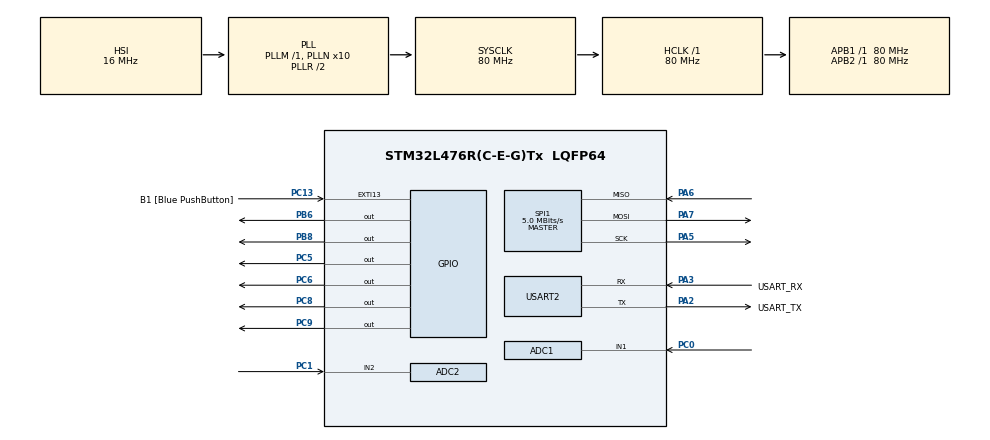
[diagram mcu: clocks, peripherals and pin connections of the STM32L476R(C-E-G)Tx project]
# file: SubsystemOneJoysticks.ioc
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ADC1.Channel-0\#ChannelRegularConversion=ADC_CHANNEL_1
ADC1.NbrOfConversionFlag=1
ADC1.OffsetNumber-0\#ChannelRegularConversion=ADC_OFFSET_NONE
ADC1.Rank-0\#ChannelRegularConversion=1
ADC1.SamplingTime-0\#ChannelRegularConversion=ADC_SAMPLETIME_2CYCLES_5
ADC1.master=1
ADC2.Channel-0\#ChannelRegularConversion=ADC_CHANNEL_2
ADC2.NbrOfConversionFlag=1
ADC2.OffsetNumber-0\#ChannelRegularConversion=ADC_OFFSET_NONE
ADC2.Rank-0\#ChannelRegularConversion=1
ADC2.SamplingTime-0\#ChannelRegularConversion=ADC_SAMPLETIME_2CYCLES_5
Mcu.Family=STM32L4
Mcu.Name=STM32L476R(C-E-G)Tx
Mcu.Package=LQFP64
NVIC.PriorityGroup=NVIC_PRIORITYGROUP_4
PA13\ (JTMS-SWDIO).GPIO_Label=TMS
PA13\ (JTMS-SWDIO).Mode=Serial_Wire
PA13\ (JTMS-SWDIO).Signal=SYS_JTMS-SWDIO
PA14\ (JTCK-SWCLK).GPIO_Label=TCK
PA14\ (JTCK-SWCLK).Mode=Serial_Wire
PA14\ (JTCK-SWCLK).Signal=SYS_JTCK-SWCLK
PA2.GPIO_Label=USART_TX
PA2.GPIO_Mode=GPIO_MODE_AF_PP
PA2.GPIO_PuPd=GPIO_NOPULL
PA2.GPIO_Speed=GPIO_SPEED_FREQ_VERY_HIGH
PA2.Mode=Asynchronous
PA2.Signal=USART2_TX
PA3.GPIO_Label=USART_RX
PA3.GPIO_Mode=GPIO_MODE_AF_PP
PA3.GPIO_PuPd=GPIO_NOPULL
PA3.GPIO_Speed=GPIO_SPEED_FREQ_VERY_HIGH
PA3.Mode=Asynchronous
PA3.Signal=USART2_RX
PA5.Mode=Full_Duplex_Master
PA5.Signal=SPI1_SCK
PA6.Mode=Full_Duplex_Master
PA6.Signal=SPI1_MISO
PA7.Mode=Full_Duplex_Master
PA7.Signal=SPI1_MOSI
PB3\ (JTDO-TRACESWO).GPIO_Label=SWO
PB3\ (JTDO-TRACESWO).Signal=SYS_JTDO-SWO
PB6.Signal=GPIO_Output
PB8.Signal=GPIO_Output
PC0.Signal=ADCx_IN1
PC1.Signal=ADCx_IN2
PC13.GPIO_Label=B1 [Blue PushButton]
PC13.GPIO_ModeDefaultEXTI=GPIO_MODE_IT_FALLING
PC13.GPIO_PuPd=GPIO_NOPULL
PC13.Signal=GPXTI13
PC14-OSC32_IN\ (PC14).Mode=LSE-External-Oscillator
PC14-OSC32_IN\ (PC14).Signal=RCC_OSC32_IN
PC15-OSC32_OUT\ (PC15).Mode=LSE-External-Oscillator
PC15-OSC32_OUT\ (PC15).Signal=RCC_OSC32_OUT
PC5.Signal=GPIO_Output
PC6.Signal=GPIO_Output
PC8.Signal=GPIO_Output
PC9.Signal=GPIO_Output
PH0-OSC_IN\ (PH0).Signal=RCC_OSC_IN
PH1-OSC_OUT\ (PH1).Signal=RCC_OSC_OUT
ProjectManager.HeapSize=0x200
ProjectManager.StackSize=0x400
ProjectManager.TargetToolchain=STM32CubeIDE
RCC.ADCFreq_Value=64000000
RCC.AHBFreq_Value=80000000
RCC.APB1Freq_Value=80000000
RCC.APB1TimFreq_Value=80000000
RCC.APB2Freq_Value=80000000
RCC.APB2TimFreq_Value=80000000
RCC.CortexFreq_Value=80000000
RCC.HCLKFreq_Value=80000000
RCC.HSE_VALUE=8000000
RCC.HSI_VALUE=16000000
RCC.MSI_VALUE=4000000
RCC.PLLN=10
RCC.PLLSourceVirtual=RCC_PLLSOURCE_HSI
RCC.PREFETCH_ENABLE=1
RCC.SYSCLKFreq_VALUE=80000000
RCC.SYSCLKSource=RCC_SYSCLKSOURCE_PLLCLK
RCC.USBFreq_Value=64000000
RCC.VCOOutputFreq_Value=160000000
SH.ADCx_IN1.0=ADC1_IN1,IN1-Single-Ended
SH.ADCx_IN2.0=ADC2_IN2,IN2-Single-Ended
SPI1.BaudRatePrescaler=SPI_BAUDRATEPRESCALER_16
SPI1.CalculateBaudRate=5.0 MBits/s
SPI1.DataSize=SPI_DATASIZE_8BIT
SPI1.Direction=SPI_DIRECTION_2LINES
SPI1.Mode=SPI_MODE_MASTER
SPI1.VirtualType=VM_MASTER
USART2.VirtualMode-Asynchronous=VM_ASYNC
board=NUCLEO-L476RG

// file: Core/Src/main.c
/* USER CODE BEGIN Header */
/**
  ******************************************************************************
  * @file           : main.c
  * @brief          : Main body code for joystick transmitter
  ******************************************************************************
  * @attention
  *
  * Copyright (c) 2025 STMicroelectronics.
  * All rights reserved.
  *
  * This software is licensed under terms that can be found in the LICENSE file
  * in the root directory of this software component.
  * If no LICENSE file comes with this software, it is provided AS-IS.
  *
  ******************************************************************************
  */
/* USER CODE END Header */
#include "main.h"
/* USER CODE BEGIN Includes */
#include "stdlib.h"
#include <stdio.h>
/* USER CODE END Includes */
/* USER CODE BEGIN PTD */
SPI_HandleTypeDef hspi1;

UART_HandleTypeDef huart2;
/* USER CODE END PTD */
/* USER CODE BEGIN PD */
#define NRF24_CMD_R_REGISTER 0x00
#define NRF24_CMD_W_REGISTER 0x20

#define CSN_GPIO_Port GPIOB
#define CSN_Pin GPIO_PIN_6

#define CE_GPIO_Port GPIOB
#define CE_Pin GPIO_PIN_8

#define CSN_HIGH() HAL_GPIO_WritePin(CSN_GPIO_Port, CSN_Pin, GPIO_PIN_SET)
#define CSN_LOW()  HAL_GPIO_WritePin(CSN_GPIO_Port, CSN_Pin, GPIO_PIN_RESET)
#define CE_HIGH()  HAL_GPIO_WritePin(CE_GPIO_Port, CE_Pin, GPIO_PIN_SET)
#define CE_LOW()   HAL_GPIO_WritePin(CE_GPIO_Port, CE_Pin, GPIO_PIN_RESET)

#define BLUE_LOW() HAL_GPIO_WritePin(GPIOC, GPIO_PIN_9, GPIO_PIN_RESET)
#define BLUE_HIGH() HAL_GPIO_WritePin(GPIOC, GPIO_PIN_9, GPIO_PIN_SET)
#define GREEN_LOW() HAL_GPIO_WritePin(GPIOC, GPIO_PIN_8, GPIO_PIN_RESET)
#define GREEN_HIGH() HAL_GPIO_WritePin(GPIOC, GPIO_PIN_8, GPIO_PIN_SET)
#define YELLOW_LOW() HAL_GPIO_WritePin(GPIOC, GPIO_PIN_6, GPIO_PIN_RESET)
#define YELLOW_HIGH() HAL_GPIO_WritePin(GPIOC, GPIO_PIN_6, GPIO_PIN_SET)
#define RED_LOW() HAL_GPIO_WritePin(GPIOC, GPIO_PIN_5, GPIO_PIN_RESET)
#define RED_HIGH() HAL_GPIO_WritePin(GPIOC, GPIO_PIN_5, GPIO_PIN_SET) //Legacy helper functions from subsystem 2, here for reference if needed.

/* USER CODE END PD */
ADC_HandleTypeDef hadc1;
ADC_HandleTypeDef hadc2;
SPI_HandleTypeDef hspi1;
UART_HandleTypeDef huart2;
/* USER CODE BEGIN PV */
int16_t UD = 0;
int16_t LR = 0;
char uart_buf[50];
int uart_buf_len;

void SystemClock_Config(void);
static void MX_GPIO_Init(void);
static void MX_USART2_UART_Init(void);
static void MX_SPI1_Init(void);

//SPI Transmission Helper Function
uint8_t SPI_Transfer(uint8_t data) {
    uint8_t received = 0;
    HAL_SPI_TransmitReceive(&hspi1, &data, &received, 1, HAL_MAX_DELAY);
    char debug_buf[30];
//    sprintf(debug_buf, "SPI Sent: %02X, Got: %02X\n", data, received);
//    HAL_UART_Transmit(&huart2, (uint8_t *)debug_buf, strlen(debug_buf), HAL_MAX_DELAY);
    return received;
}

void nRF24_WriteRegister(uint8_t reg, uint8_t value) {
    CSN_LOW();  // Select the nRF24L01
    SPI_Transfer(0x20 | (reg & 0x1F));  // Write command (0x20 + Register Address)
    SPI_Transfer(value);  // Send data
    CSN_HIGH(); // Deselect
}

void nRF24_WriteRegisterMulti(uint8_t reg, uint8_t *data, uint8_t length) {
    CSN_LOW();  // Select nRF24L01
    SPI_Transfer(0x20 | (reg & 0x1F));  // Write command
    HAL_SPI_Transmit(&hspi1, data, length, HAL_MAX_DELAY);
    CSN_HIGH();  // Deselect
}

uint8_t nRF24_ReadRegister(uint8_t reg) {
    CSN_LOW();  // Select the nRF24L01
    SPI_Transfer(reg & 0x1F);  // Read command (0x00 + Register Address)
    uint8_t value = SPI_Transfer(0xFF);  // Receive data
    CSN_HIGH();  // Deselect
    return value;
}

void nRF24_WritePayload(uint8_t *data, uint8_t length) {
    CSN_LOW();  // Select the nRF24L01
    SPI_Transfer(0xA0);  // Write Payload Command
    HAL_SPI_Transmit(&hspi1, data, length, HAL_MAX_DELAY);
    CSN_HIGH();  // Deselect
}

void nRF24_ReadPayload(uint8_t *data, uint8_t length) {
    CSN_LOW();  // Select nRF24L01
    SPI_Transfer(0x61);  // Read Payload Command
    HAL_SPI_Receive(&hspi1, data, length, HAL_MAX_DELAY);
    CSN_HIGH();  // Deselect
}

//Initialize transmitter as sender
void nRF24_SetTXMode() {
	uint8_t tx_addr[5] = { 0xE7, 0xE7, 0xE7, 0xE7, 0xE7 };

    CE_LOW();  // Ensure CE is low
    nRF24_WriteRegister(0x00, 0x0E);  // Set PWR_UP & PRIM_TX (CONFIG register)
    nRF24_WriteRegisterMulti(0x10, tx_addr, 5);  // Set TX address (must match RX)
    HAL_Delay(2);  // Wait for power-up
}

//Clear send queue
void nRF24_FlushTX() {
    CSN_LOW();           // Select the nRF24L01
    HAL_SPI_Transmit(&hspi1, 0xE1, 1, HAL_MAX_DELAY);  // Send command
    CSN_HIGH();          // Deselect
}

//Transmitter main loop
void nRF24_SendData(uint8_t *data, uint8_t length) {
    CE_LOW();
    nRF24_WritePayload(data, length);  // Load payload
    CE_HIGH();  // Start transmission
    HAL_Delay(1);  // Ensure minimum CE pulse width
    CE_LOW();  // Stop transmission

    // Check if transmission failed (MAX_RT reached)
    uint8_t status = nRF24_ReadRegister(0x07);
    if (status & (1 << 4)) {
        nRF24_WriteRegister(0x07, (1 << 4));  // Clear MAX_RT flag
        nRF24_FlushTX();  // Flush TX FIFO to reset stuck transmission
        return;
    }

    // Check if data was sent successfully (ACK received)
    if (status & (1 << 5)) {
        nRF24_WriteRegister(0x07, (1 << 5));  // Clear TX_DS flag
    }
}

//Initialize Transmitter
void nRF24_Init() {
    CE_LOW();  // Disable radio
    CSN_HIGH();  // Deselect SPI

    nRF24_WriteRegister(0x00, 0x0A);  // Set PWR_UP, CRC enabled
    nRF24_WriteRegister(0x01, 0x01);  // Enable Auto Acknowledgment
    nRF24_WriteRegister(0x02, 0x01);  // Enable only Pipe 0
    nRF24_WriteRegister(0x05, 0x02);  // Set RF Channel (Change as needed)
    nRF24_WriteRegister(0x06, 0x07);  // Set RF Power 0dBm, 1Mbps

    HAL_Delay(2);  // Wait for power-up
}

void nRF24_SetRXMode() {
    uint8_t rx_addr[5] = { 0xE7, 0xE7, 0xE7, 0xE7, 0xE7 };  // Must match TX

    CE_LOW();
    nRF24_WriteRegister(0x00, 0x0F);  // PWR_UP | PRIM_RX
    nRF24_WriteRegister(0x02, 0x01);  // Enable Pipe 0
    nRF24_WriteRegisterMulti(0x0A, rx_addr, 5);  // Set RX address
    nRF24_WriteRegister(0x11, 1);  // Set static payload length
    nRF24_WriteRegister(0x1C, 0x00);  // Disable dynamic payload
    nRF24_WriteRegister(0x1D, 0x00);  // Disable features
    HAL_Delay(2);
    CE_HIGH();  // Enable RX mode
}

uint8_t nRF24_DataAvailable() {
    uint8_t status = nRF24_ReadRegister(0x07);  // Read STATUS register
    if (status & (1 << 6)) {  // RX_DR is set
        nRF24_WriteRegister(0x07, (1 << 6));  // Clear RX_DR flag
        return 1;  // Data available
    }
    return 0;  // No data
}
/* USER CODE END PV */
void SystemClock_Config(void);
void PeriphCommonClock_Config(void);
static void MX_GPIO_Init(void);
static void MX_USART2_UART_Init(void);
static void MX_ADC1_Init(void);
static void MX_ADC2_Init(void);
int main(void)
{
 /* MCU Configuration--------------------------------------------------------*/
 /* Reset of all peripherals, Initializes the Flash interface and the Systick. */
 HAL_Init();
 /* Configure the system clock */
 SystemClock_Config();
 /* Configure the peripherals common clocks */
 PeriphCommonClock_Config();
 /* Initialize all configured peripherals */
 MX_GPIO_Init();
 MX_USART2_UART_Init();
 MX_ADC1_Init();
 MX_ADC2_Init();
 MX_SPI1_Init();
 /* Infinite loop */
 while (1)
 {
   /* USER CODE BEGIN 3 */
	  nRF24_Init();  // Initialize nRF24L01
	  nRF24_SetTXMode();  // Set TX Mode
	  HAL_Delay(25);

	  //Use ADC to get readings from joystick
	  HAL_ADC_Start(&hadc1);
	  HAL_ADC_Start(&hadc2);
	  HAL_ADC_PollForConversion(&hadc1, HAL_MAX_DELAY);
	  HAL_ADC_PollForConversion(&hadc2, HAL_MAX_DELAY);
	  UD = HAL_ADC_GetValue(&hadc1);
	  LR = HAL_ADC_GetValue(&hadc2);

	  //Calculate values for up / down / left / right states
	  UD = UD - 2048;
	  LR = LR - 2048;
	  int deadzone = 1100;
	  int val;

	  if (abs(UD) < deadzone && abs(LR) < deadzone) {
		  val = 0; //If all values in deadzone, stop motion
	  } else if (abs(UD) > abs(LR)) { //If up/down has a higher variance, send the corresponding value
		  if (UD > 0) {		//UP
			  val = 3;
		  } else if (UD < 0) {	//DOWN
			  val = 4;
		  }
	  } else { //If left/right has a higher variance, send the corresponding value
		  if (LR > 0) {		//RIGHT
			  val = 2;
		  } else if (LR < 0) {		//LEFT
			  val = 1;
		  }
	  }

	  uint8_t txData[1] = {val};

	  uint8_t config = nRF24_ReadRegister(0x00);

//	  HAL_Delay(25);
	  //Send current state
	  nRF24_SendData(txData, 1);

	  //Print joystick values to serial monitor
	  uart_buf_len= sprintf(uart_buf, "Up/Down: %d and Left/Right: %d -- VAL %d\r\n", UD,LR,val,config);
	  HAL_UART_Transmit(&huart2,(uint8_t*)uart_buf, uart_buf_len, 100);
	  //Print config debug to serial monitor
	  sprintf(uart_buf, "CONFIG: %02X\n\r", config);
	  HAL_UART_Transmit(&huart2, (uint8_t *)uart_buf, strlen(uart_buf), HAL_MAX_DELAY);
//
//	  HAL_Delay(50);

 }
 /* USER CODE END 3 */
}

void SystemClock_Config(void)
{
  RCC_OscInitTypeDef RCC_OscInitStruct = {0};
  RCC_ClkInitTypeDef RCC_ClkInitStruct = {0};

  /** Configure the main internal regulator output voltage
  */
  if (HAL_PWREx_ControlVoltageScaling(PWR_REGULATOR_VOLTAGE_SCALE1) != HAL_OK)
  {
    Error_Handler();
  }

  /** Initializes the RCC Oscillators according to the specified parameters
  * in the RCC_OscInitTypeDef structure.
  */
  RCC_OscInitStruct.OscillatorType = RCC_OSCILLATORTYPE_HSI;
  RCC_OscInitStruct.HSIState = RCC_HSI_ON;
  RCC_OscInitStruct.HSICalibrationValue = RCC_HSICALIBRATION_DEFAULT;
  RCC_OscInitStruct.PLL.PLLState = RCC_PLL_ON;
  RCC_OscInitStruct.PLL.PLLSource = RCC_PLLSOURCE_HSI;
  RCC_OscInitStruct.PLL.PLLM = 1;
  RCC_OscInitStruct.PLL.PLLN = 10;
  RCC_OscInitStruct.PLL.PLLP = RCC_PLLP_DIV7;
  RCC_OscInitStruct.PLL.PLLQ = RCC_PLLQ_DIV2;
  RCC_OscInitStruct.PLL.PLLR = RCC_PLLR_DIV2;
  if (HAL_RCC_OscConfig(&RCC_OscInitStruct) != HAL_OK)
  {
    Error_Handler();
  }

  /** Initializes the CPU, AHB and APB buses clocks
  */
  RCC_ClkInitStruct.ClockType = RCC_CLOCKTYPE_HCLK|RCC_CLOCKTYPE_SYSCLK
                              |RCC_CLOCKTYPE_PCLK1|RCC_CLOCKTYPE_PCLK2;
  RCC_ClkInitStruct.SYSCLKSource = RCC_SYSCLKSOURCE_PLLCLK;
  RCC_ClkInitStruct.AHBCLKDivider = RCC_SYSCLK_DIV1;
  RCC_ClkInitStruct.APB1CLKDivider = RCC_HCLK_DIV1;
  RCC_ClkInitStruct.APB2CLKDivider = RCC_HCLK_DIV1;

  if (HAL_RCC_ClockConfig(&RCC_ClkInitStruct, FLASH_LATENCY_4) != HAL_OK)
  {
    Error_Handler();
  }
}

void PeriphCommonClock_Config(void)
{
  RCC_PeriphCLKInitTypeDef PeriphClkInit = {0};

  /** Initializes the peripherals clock
  */
  PeriphClkInit.PeriphClockSelection = RCC_PERIPHCLK_ADC;
  PeriphClkInit.AdcClockSelection = RCC_ADCCLKSOURCE_PLLSAI1;
  PeriphClkInit.PLLSAI1.PLLSAI1Source = RCC_PLLSOURCE_HSI;
  PeriphClkInit.PLLSAI1.PLLSAI1M = 1;
  PeriphClkInit.PLLSAI1.PLLSAI1N = 8;
  PeriphClkInit.PLLSAI1.PLLSAI1P = RCC_PLLP_DIV7;
  PeriphClkInit.PLLSAI1.PLLSAI1Q = RCC_PLLQ_DIV2;
  PeriphClkInit.PLLSAI1.PLLSAI1R = RCC_PLLR_DIV2;
  PeriphClkInit.PLLSAI1.PLLSAI1ClockOut = RCC_PLLSAI1_ADC1CLK;
  if (HAL_RCCEx_PeriphCLKConfig(&PeriphClkInit) != HAL_OK)
  {
    Error_Handler();
  }
}

static void MX_ADC1_Init(void)
{

  ADC_MultiModeTypeDef multimode = {0};
  ADC_ChannelConfTypeDef sConfig = {0};

  /** Common config
  */
  hadc1.Instance = ADC1;
  hadc1.Init.ClockPrescaler = ADC_CLOCK_ASYNC_DIV1;
  hadc1.Init.Resolution = ADC_RESOLUTION_12B;
  hadc1.Init.DataAlign = ADC_DATAALIGN_RIGHT;
  hadc1.Init.ScanConvMode = ADC_SCAN_DISABLE;
  hadc1.Init.EOCSelection = ADC_EOC_SINGLE_CONV;
  hadc1.Init.LowPowerAutoWait = DISABLE;
  hadc1.Init.ContinuousConvMode = DISABLE;
  hadc1.Init.NbrOfConversion = 1;
  hadc1.Init.DiscontinuousConvMode = DISABLE;
  hadc1.Init.ExternalTrigConv = ADC_SOFTWARE_START;
  hadc1.Init.ExternalTrigConvEdge = ADC_EXTERNALTRIGCONVEDGE_NONE;
  hadc1.Init.DMAContinuousRequests = DISABLE;
  hadc1.Init.Overrun = ADC_OVR_DATA_PRESERVED;
  hadc1.Init.OversamplingMode = DISABLE;
  if (HAL_ADC_Init(&hadc1) != HAL_OK)
  {
    Error_Handler();
  }

  /** Configure the ADC multi-mode
  */
  multimode.Mode = ADC_MODE_INDEPENDENT;
  if (HAL_ADCEx_MultiModeConfigChannel(&hadc1, &multimode) != HAL_OK)
  {
    Error_Handler();
  }

  /** Configure Regular Channel
  */
  sConfig.Channel = ADC_CHANNEL_1;
  sConfig.Rank = ADC_REGULAR_RANK_1;
  sConfig.SamplingTime = ADC_SAMPLETIME_2CYCLES_5;
  sConfig.SingleDiff = ADC_SINGLE_ENDED;
  sConfig.OffsetNumber = ADC_OFFSET_NONE;
  sConfig.Offset = 0;
  if (HAL_ADC_ConfigChannel(&hadc1, &sConfig) != HAL_OK)
  {
    Error_Handler();
  }

}

static void MX_ADC2_Init(void)
{

  ADC_ChannelConfTypeDef sConfig = {0};

  /** Common config
  */
  hadc2.Instance = ADC2;
  hadc2.Init.ClockPrescaler = ADC_CLOCK_ASYNC_DIV1;
  hadc2.Init.Resolution = ADC_RESOLUTION_12B;
  hadc2.Init.DataAlign = ADC_DATAALIGN_RIGHT;
  hadc2.Init.ScanConvMode = ADC_SCAN_DISABLE;
  hadc2.Init.EOCSelection = ADC_EOC_SINGLE_CONV;
  hadc2.Init.LowPowerAutoWait = DISABLE;
  hadc2.Init.ContinuousConvMode = DISABLE;
  hadc2.Init.NbrOfConversion = 1;
  hadc2.Init.DiscontinuousConvMode = DISABLE;
  hadc2.Init.ExternalTrigConv = ADC_SOFTWARE_START;
  hadc2.Init.ExternalTrigConvEdge = ADC_EXTERNALTRIGCONVEDGE_NONE;
  hadc2.Init.DMAContinuousRequests = DISABLE;
  hadc2.Init.Overrun = ADC_OVR_DATA_PRESERVED;
  hadc2.Init.OversamplingMode = DISABLE;
  if (HAL_ADC_Init(&hadc2) != HAL_OK)
  {
    Error_Handler();
  }

  /** Configure Regular Channel
  */
  sConfig.Channel = ADC_CHANNEL_2;
  sConfig.Rank = ADC_REGULAR_RANK_1;
  sConfig.SamplingTime = ADC_SAMPLETIME_2CYCLES_5;
  sConfig.SingleDiff = ADC_SINGLE_ENDED;
  sConfig.OffsetNumber = ADC_OFFSET_NONE;
  sConfig.Offset = 0;
  if (HAL_ADC_ConfigChannel(&hadc2, &sConfig) != HAL_OK)
  {
    Error_Handler();
  }

}

static void MX_SPI1_Init(void)
{

  /* SPI1 parameter configuration*/
  hspi1.Instance = SPI1;
  hspi1.Init.Mode = SPI_MODE_MASTER;
  hspi1.Init.Direction = SPI_DIRECTION_2LINES;
  hspi1.Init.DataSize = SPI_DATASIZE_8BIT;
  hspi1.Init.CLKPolarity = SPI_POLARITY_LOW;
  hspi1.Init.CLKPhase = SPI_PHASE_1EDGE;
  hspi1.Init.NSS = SPI_NSS_SOFT;
  hspi1.Init.BaudRatePrescaler = SPI_BAUDRATEPRESCALER_16;
  hspi1.Init.FirstBit = SPI_FIRSTBIT_MSB;
  hspi1.Init.TIMode = SPI_TIMODE_DISABLE;
  hspi1.Init.CRCCalculation = SPI_CRCCALCULATION_DISABLE;
  hspi1.Init.CRCPolynomial = 7;
  hspi1.Init.CRCLength = SPI_CRC_LENGTH_DATASIZE;
  hspi1.Init.NSSPMode = SPI_NSS_PULSE_ENABLE;
  if (HAL_SPI_Init(&hspi1) != HAL_OK)
  {
    Error_Handler();
  }

}

static void MX_USART2_UART_Init(void)
{

  huart2.Instance = USART2;
  huart2.Init.BaudRate = 115200;
  huart2.Init.WordLength = UART_WORDLENGTH_8B;
  huart2.Init.StopBits = UART_STOPBITS_1;
  huart2.Init.Parity = UART_PARITY_NONE;
  huart2.Init.Mode = UART_MODE_TX_RX;
  huart2.Init.HwFlowCtl = UART_HWCONTROL_NONE;
  huart2.Init.OverSampling = UART_OVERSAMPLING_16;
  huart2.Init.OneBitSampling = UART_ONE_BIT_SAMPLE_DISABLE;
  huart2.AdvancedInit.AdvFeatureInit = UART_ADVFEATURE_NO_INIT;
  if (HAL_UART_Init(&huart2) != HAL_OK)
  {
    Error_Handler();
  }

}

static void MX_GPIO_Init(void)
{
  GPIO_InitTypeDef GPIO_InitStruct = {0};

  /* GPIO Ports Clock Enable */
  __HAL_RCC_GPIOC_CLK_ENABLE();
  __HAL_RCC_GPIOH_CLK_ENABLE();
  __HAL_RCC_GPIOA_CLK_ENABLE();
  __HAL_RCC_GPIOB_CLK_ENABLE();

  /*Configure GPIO pin Output Level */
  HAL_GPIO_WritePin(GPIOC, GPIO_PIN_5|GPIO_PIN_6|GPIO_PIN_8|GPIO_PIN_9, GPIO_PIN_RESET);

  /*Configure GPIO pin Output Level */
  HAL_GPIO_WritePin(GPIOB, GPIO_PIN_6|GPIO_PIN_8, GPIO_PIN_RESET);

  /*Configure GPIO pin : B1_Pin */
  GPIO_InitStruct.Pin = B1_Pin;
  GPIO_InitStruct.Mode = GPIO_MODE_IT_FALLING;
  GPIO_InitStruct.Pull = GPIO_NOPULL;
  HAL_GPIO_Init(B1_GPIO_Port, &GPIO_InitStruct);

  /*Configure GPIO pins : PC5 PC6 PC8 PC9 */
  GPIO_InitStruct.Pin = GPIO_PIN_5|GPIO_PIN_6|GPIO_PIN_8|GPIO_PIN_9;
  GPIO_InitStruct.Mode = GPIO_MODE_OUTPUT_PP;
  GPIO_InitStruct.Pull = GPIO_NOPULL;
  GPIO_InitStruct.Speed = GPIO_SPEED_FREQ_LOW;
  HAL_GPIO_Init(GPIOC, &GPIO_InitStruct);

  /*Configure GPIO pins : PB6 PB8 */
  GPIO_InitStruct.Pin = GPIO_PIN_6|GPIO_PIN_8;
  GPIO_InitStruct.Mode = GPIO_MODE_OUTPUT_PP;
  GPIO_InitStruct.Pull = GPIO_NOPULL;
  GPIO_InitStruct.Speed = GPIO_SPEED_FREQ_LOW;
  HAL_GPIO_Init(GPIOB, &GPIO_InitStruct);

}

void Error_Handler(void)
{
  __disable_irq();
  while (1)
  {
  }
}
